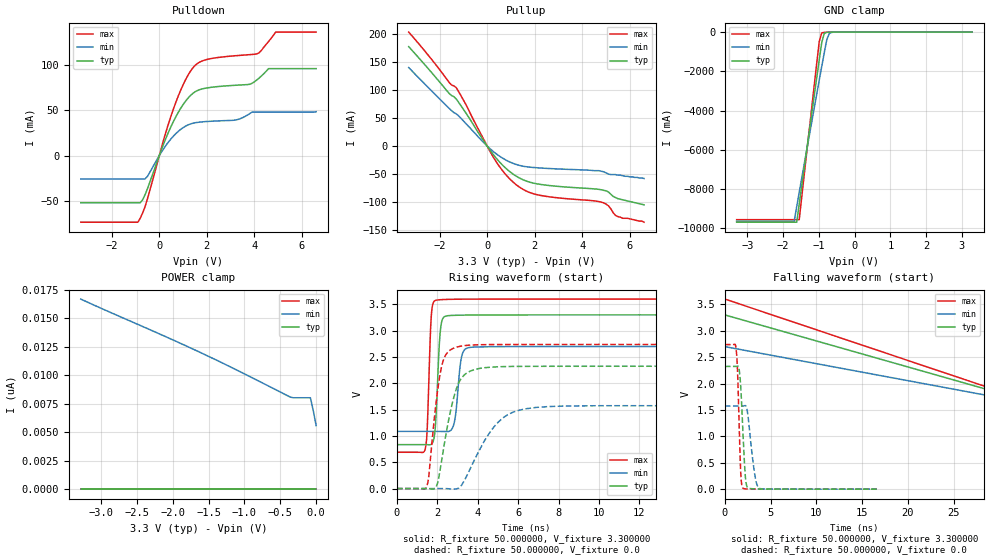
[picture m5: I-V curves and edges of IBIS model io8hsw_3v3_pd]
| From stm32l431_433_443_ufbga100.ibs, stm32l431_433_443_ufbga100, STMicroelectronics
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|   Model io8hsw_3v3_pd
[Model]  io8hsw_3v3_pd
Model_type I/O
Polarity   Non-Inverting
Enable   Active-Low
Vinl =   0.990000V
Vinh =   2.310000V
Vmeas =  1.650000V
Cref =   100.000000nF
Rref =   1.000000k
Vref =   3.300000V
C_comp   2.968600pF   2.938100pF   3.196200pF
[Temperature Range]   25.000000   0.125000k   -40.000000
[Pullup Reference]   3.300000V   2.700000V   3.600000V
[Pulldown Reference]   0.0V   0.0V   0.0V
[POWER Clamp Reference]   3.300000V   2.700000V   3.600000V
[GND Clamp Reference]   0.0V   0.0V   0.0V
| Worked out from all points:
|   slope of the pulldown table from 0 to 0.495 V, typ, clamps not added: 15.4 ohm
|   slope of the pullup table from 0 to 0.495 V, typ, clamps not added: 18.1 ohm
|   GND clamp passes 1 mA (typ) near -0.58 V on its own axis
|   rising waveform, R_fixture 50.000000, V_fixture 3.300000: 20-80 % time 182ps typ, 239ps min, 151ps max; typ from 0.835 V to 3.3 V
|   rising waveform, R_fixture 50.000000, V_fixture 0.0: 20-80 % time 728ps typ, 1.46ns min, 491ps max; typ from 0 V to 2.32 V
|   falling waveform, R_fixture 50.000000, V_fixture 3.300000: 20-80 % time 30ns typ, 30ns min, 30ns max; typ from 3.3 V to 0.835 V
|   falling waveform, R_fixture 50.000000, V_fixture 0.0: 20-80 % time 393ps typ, 625ps min, 287ps max; typ from 2.32 V to 0 V
[Pulldown]
|Voltage   I(typ)   I(min)   I(max)
-3.3V     -51.63mA   -25.53mA   -73.04mA
-900mV    -51.63mA   -25.53mA   -73.04mA
-500mV    -36.51mA   -22.79mA   -47.71mA
200mV     14.02mA    8.316mA    18.9mA
700mV     42.99mA    24.4mA     58.9mA
1.2V      63.06mA    33.8mA     88.14mA
1.6V      71.63mA    36.67mA    101.4mA
3.2V      77.51mA    39.29mA    110mA
4.1V      83.27mA    47.97mA    111.9mA
4.6V      95.8mA     47.97mA    125.7mA
4.9V      95.8mA     47.97mA    136mA
6.6V      95.8mA     48.43mA    136mA
[Pullup]
|Voltage   I(typ)   I(min)   I(max)
-3.3V     177.5mA    140.1mA    203.5mA
-1.6V     93.98mA    67.35mA    113.6mA
-1.3V     83.98mA    57.46mA    104.3mA
300mV     -17.49mA   -11.19mA   -22.71mA
700mV     -36.32mA   -22.9mA    -46.84mA
1.2V      -53.2mA    -32.62mA   -68.34mA
1.7V      -63.36mA   -37.25mA   -81.47mA
2.2V      -68.23mA   -39.11mA   -87.81mA
4.8V      -78.1mA    -45mA      -100.2mA
5.1V      -82mA      -50mA      -106.7mA
5.5V      -94mA      -52mA      -126mA
6.6V      -105mA     -58mA      -136mA
[GND_clamp]
|Voltage   I(typ)   I(min)   I(max)
-3.3V     -9.687A    -9.633A    -9.557A
-1.69V    -9.687A    -9.633A    -9.557A
-1.62V    -9.687A    -8.894A    -9.557A
-1.55V    -8.764A    -8.167A    -9.557A
-1.13V    -3.236A    -3.867A    -2.713A
-990mV    -1.417A    -2.448A    -480.2mA
-920mV    -530mA     -1.746A    -39.97mA
-850mV    -62.37mA   -1.055A    -14.05mA
-780mV    -12.06mA   -390.4mA   -9.024mA
-710mV    -4.91mA    -69.1mA    -5.331mA
-640mV    -2.318mA   -14.6mA    -2.508mA
3.28V     87.11uA    88.99uA    71.58uA
[POWER_clamp]
|Voltage   I(typ)   I(min)   I(max)
-3.28V    0A         16.68nA    0A
-1.64V    0A         12.07nA    0A
-1.08V    0A         10.37nA    0A
-360mV    0A         8.078nA    0A
-320mV    0A         8.02nA     0A
-80mV     0A         8.02nA     0A
-40mV     0A         6.883nA    0A
0V        0A         5.582nA    0A
[Ramp]
| variable   typ   min   max
dV/dt_r  1.39386/0.72689n   0.94404/1.45926n   1.64250/0.48983n
dV/dt_f  1.47827/0.60354n   0.96690/1.27264n   1.74551/0.39885n
R_load = 50.000000
[Rising Waveform]
R_fixture= 50.000000
V_fixture= 3.300000
V_fixture_min= 2.700000
V_fixture_max= 3.600000
|time   V(typ)   V(min)   V(max)
0s        834.7mV    1.086V     689.8mV
1.401ns   834.3mV    1.086V     754.5mV
1.702ns   841.2mV    1.086V     3.291V
1.902ns   1.176V     1.086V     3.572V
2.135ns   2.946V     1.085V     3.587V
2.402ns   3.274V     1.083V     3.592V
2.836ns   3.29V      1.253V     3.595V
3.17ns    3.293V     2.444V     3.597V
3.47ns    3.295V     2.669V     3.598V
16.62ns   3.299V     2.699V     3.599V
[Rising Waveform]
R_fixture= 50.000000
V_fixture= 0.0
V_fixture_min= 0.0
V_fixture_max= 0.0
|time   V(typ)   V(min)   V(max)
0s        3.724nV    95.34nV    3.47nV
1.468ns   290.9uV    346nV      40.76mV
1.568ns   -1.107mV   465.1nV    205.8mV
1.935ns   30.56mV    27.84uV    1.626V
2.169ns   430.6mV    114.6uV    2.243V
2.769ns   1.666V     -9.659mV   2.66V
3.47ns    2.199V     253.7mV    2.72V
4.705ns   2.307V     1.123V     2.735V
5.873ns   2.32V      1.469V     2.736V
16.62ns   2.323V     1.574V     2.738V
[Falling Waveform]
R_fixture= 50.000000
V_fixture= 3.300000
V_fixture_min= 2.700000
V_fixture_max= 3.600000
|time   V(typ)   V(min)   V(max)
0s        3.299V     2.699V     3.599V
50.05ns   834.7mV    1.086V     689.8mV
100.1ns   834.7mV    1.086V     689.8mV
4.955us   834.7mV    1.086V     689.8mV
[Falling Waveform]
R_fixture= 50.000000
V_fixture= 0.0
V_fixture_min= 0.0
V_fixture_max= 0.0
|time   V(typ)   V(min)   V(max)
0s        2.323V     1.574V     2.738V
1.235ns   2.324V     1.574V     2.648V
1.401ns   2.329V     1.574V     2.158V
1.735ns   1.936V     1.573V     310.2mV
1.969ns   1.111V     1.574V     21.99mV
2.202ns   327.2mV    1.582V     6.617mV
2.369ns   75.27mV    1.55V      3.95mV
3.27ns    6.223mV    276.9mV    1.565mV
3.737ns   4.102mV    21.05mV    1.168mV
16.62ns   3.724nV    95.34nV    3.47nV
